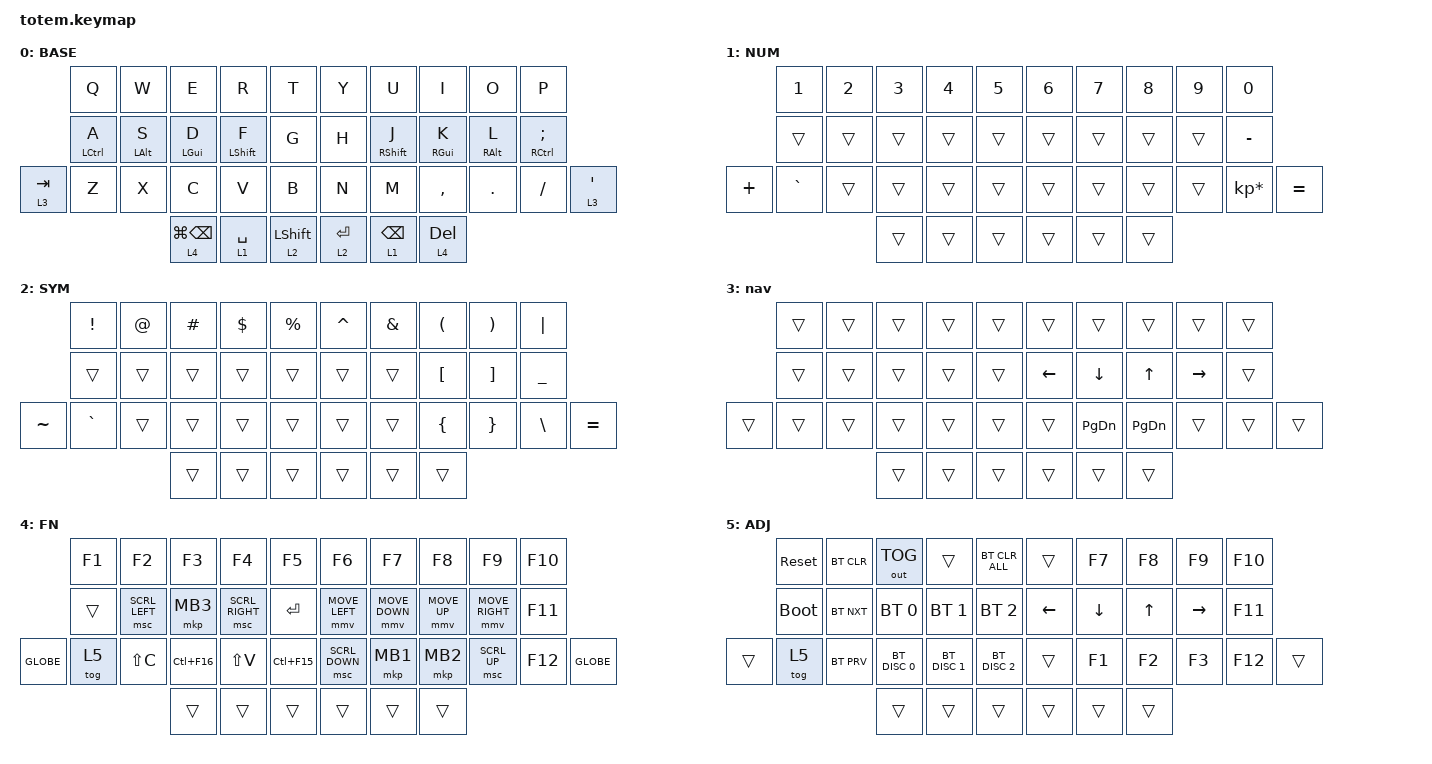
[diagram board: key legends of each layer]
//
//                                                        ▀▀▀▀▀     ▀▀▀▀▀          ▀▀█▀▀
//                                                        ▄▀▀▀▄  ▄  ▄▀▀▀▄  ▄  ▄▀▀▀▄  █  ▄▀▀▀▄
//                                                        █   █  █  █   █  █  █   █  █  █   █
//                                                         ▀▀▀   █   ▀▀▀   █   ▀▀▀   ▀   ▀▀▀
//                                                               █      ▄▄▄█▄▄▄    █   █  
//                                                               ▀      █  █  █     █▄█
//                                                             ▀▀▀▀▀    █  █  █      ▀
//                                                                      ▀  ▀  ▀
//
// ▄▄▄▄▄▄▄▄▄▄▄▄▄▄▄▄▄▄▄▄▄▄▄▄▄▄▄▄▄▄▄▄▄▄▄▄▄▄▄▄▄▄▄▄▄▄▄▄▄▄▄▄▄▄▄▄▄▄▄▄▄▄▄▄▄▄▄▄▄▄▄▄▄▄▄▄▄▄▄▄▄▄▄▄▄▄▄▄▄▄▄▄▄▄▄▄▄▄▄▄▄▄▄▄▄▄▄▄▄▄▄▄▄▄▄▄▄▄▄▄▄▄▄▄▄▄▄▄▄▄▄▄▄▄▄▄▄▄▄▄▄▄▄▄▄▄▄▄▄

#include <behaviors.dtsi>
#include <dt-bindings/zmk/bt.h>
#include <dt-bindings/zmk/keys.h>
#include <dt-bindings/zmk/outputs.h>
#include <dt-bindings/zmk/pointing.h>

#define BASE 0
#define NAV  1
#define SYM  2
#define ADJ  3
#define TVP1 4
#define TVP2 5

&mt {
    quick-tap-ms = <100>;
    global-quick-tap;
    flavor = "tap-preferred";
    tapping-term-ms = <170>;
};

/ {
    combos {
        compatible = "zmk,combos";

        combo_esc {
            timeout-ms = <50>;
            key-positions = <0 1>;
            bindings = <&kp ESC>;
        };

        combo_esc_right {
            bindings = <&kp ESCAPE>;
            key-positions = <8 9>;
        };

        rsft_nav {
            bindings = <&lt 3 RSHFT>;
            key-positions = <36 35>;
        };

        left_caps_word {
            bindings = <&caps_word>;
            key-positions = <3 13>;
        };

        right_caps_word {
            bindings = <&caps_word>;
            key-positions = <6 16>;
        };
    };

    macros {
        gif: gif {
            label = "giphy";
            compatible = "zmk,behavior-macro";
            #binding-cells = <0>;
            bindings =
                <&macro_press>,
                <&kp LSHFT>,
                <&macro_tap>,
                <&kp N2>,
                <&macro_release>,
                <&kp LSHFT>,
                <&macro_tap>,
                <&kp G &kp I &kp F>;
        };
    };

    keymap {
        compatible = "zmk,keymap";

        // ▄▄▄▄▄▄▄▄▄▄▄▄▄▄▄▄▄▄▄▄▄▄▄▄▄▄▄▄▄▄▄▄▄▄▄▄▄▄▄▄▄▄▄▄▄▄▄▄▄▄▄▄▄▄▄▄▄▄▄▄▄▄▄▄▄▄▄▄▄▄▄▄▄▄▄▄▄▄▄▄▄▄▄▄▄▄▄▄▄▄▄▄▄▄▄▄▄▄▄▄▄▄▄▄▄▄▄▄▄▄▄▄▄▄▄▄▄▄▄▄▄▄▄▄▄▄▄▄▄▄▄▄▄▄▄▄▄▄▄▄▄▄▄▄▄▄▄▄▄

        base_layer {
            // ┏━━━━━━━━━━━━━━━━━━━━━━━━━━━━━━━━━━━━━━━┓

            label = "BASE";

            // ┗━━━━━━━━━━━━━━━━━━━━━━━━━━━━━━━━━━━━━━━┛
            //             ┏━━━━━━━━━━━┳━━━━━━━━━━━┳━━━━━━━━━━━┳━━━━━━━━━━━┳━━━━━━━━━━━┓   ┏━━━━━━━━━━━┳━━━━━━━━━━━┳━━━━━━━━━━━┳━━━━━━━━━━━┳━━━━━━━━━━━┓
            //             ┃     Q     ┃     W     ┃     F     ┃     P     ┃     G     ┃   ┃     J     ┃     L     ┃     U     ┃     Y     ┃     ;     ┃
            //             ┣━━━━━━━━━━━╋━━━━━━━━━━━╋━━━━━━━━━━━╋━━━━━━━━━━━╋━━━━━━━━━━━┫   ┣━━━━━━━━━━━╋━━━━━━━━━━━╋━━━━━━━━━━━╋━━━━━━━━━━━╋━━━━━━━━━━━┫
            //             ┃     A     ┃     R     ┃     S     ┃     T     ┃     D     ┃   ┃     H     ┃     N     ┃     E     ┃     I     ┃     O     ┃
            // ┏━━━━━━━━━━━╋━━━━━━━━━━━╋━━━━━━━━━━━╋━━━━━━━━━━━╋━━━━━━━━━━━╋━━━━━━━━━━━┫   ┣━━━━━━━━━━━╋━━━━━━━━━━━╋━━━━━━━━━━━╋━━━━━━━━━━━╋━━━━━━━━━━━╋━━━━━━━━━━━┓
            // ┃     Q     ┃     Z     ┃     X     ┃     C     ┃     V     ┃     B     ┃   ┃     K     ┃     M     ┃     ,     ┃     .     ┃     /     ┃     \     ┃
            // ┗━━━━━━━━━━━┻━━━━━━━━━━━┻━━━━━━━━━━━╋━━━━━━━━━━━╋━━━━━━━━━━━╋━━━━━━━━━━━┫   ┣━━━━━━━━━━━╋━━━━━━━━━━━╋━━━━━━━━━━━╋━━━━━━━━━━━┻━━━━━━━━━━━┻━━━━━━━━━━━┛
            //                                     ┃    DEL    ┃    TAB    ┃    SPC    ┃   ┃   ENTER   ┃           ┃   BSPC    ┃
            //                                     ┗━━━━━━━━━━━┻━━━━━━━━━━━┻━━━━━━━━━━━┛   ┗━━━━━━━━━━━┻━━━━━━━━━━━┻━━━━━━━━━━━┛

            bindings = <
           &kp Q        &kp W       &kp E                &kp R        &kp T           &kp Y        &kp U            &kp I         &kp O       &kp P
           &mt LCTRL A  &mt LALT S  &mt LGUI D           &mt LSHFT F  &kp G           &kp H        &mt RSHFT J      &mt RGUI K    &mt RALT L  &mt RCTRL SEMICOLON
&lt 3 TAB  &kp Z        &kp X       &kp C                &kp V        &kp B           &kp N        &kp M            &kp COMMA     &kp DOT     &kp FSLH             &lt 3 SQT
                                    &lt 4 LG(BACKSPACE)  &lt 1 SPACE  &lt 2 LSHIFT    &lt 2 ENTER  &lt 1 BACKSPACE  &lt 4 DELETE
            >;
        };

        num_layer {
            // ┏━━━━━━━━━━━━━━━━━━━━━━━━━━━━━━━━━━━━━━━┓

            label = "NUM";

            // ┗━━━━━━━━━━━━━━━━━━━━━━━━━━━━━━━━━━━━━━━┛
            //             ┏━━━━━━━━━━━┳━━━━━━━━━━━┳━━━━━━━━━━━┳━━━━━━━━━━━┳━━━━━━━━━━━┓   ┏━━━━━━━━━━━┳━━━━━━━━━━━┳━━━━━━━━━━━┳━━━━━━━━━━━┳━━━━━━━━━━━┓
            //             ┃           ┃           ┃     UP    ┃           ┃     {     ┃   ┃     }     ┃     7     ┃     8     ┃     9     ┃     +     ┃
            //             ┣━━━━━━━━━━━╋━━━━━━━━━━━╋━━━━━━━━━━━╋━━━━━━━━━━━╋━━━━━━━━━━━┫   ┣━━━━━━━━━━━╋━━━━━━━━━━━╋━━━━━━━━━━━╋━━━━━━━━━━━╋━━━━━━━━━━━┫
            //             ┃   SHIFT   ┃   LEFT    ┃    DOWN   ┃   RIGHT   ┃     [     ┃   ┃     ]     ┃     4     ┃     5     ┃     6     ┃     -     ┃
            // ┏━━━━━━━━━━━╋━━━━━━━━━━━╋━━━━━━━━━━━╋━━━━━━━━━━━╋━━━━━━━━━━━╋━━━━━━━━━━━┫   ┣━━━━━━━━━━━╋━━━━━━━━━━━╋━━━━━━━━━━━╋━━━━━━━━━━━╋━━━━━━━━━━━╋━━━━━━━━━━━┓
            // ┃           ┃           ┃   P UP    ┃  C LOCK   ┃  P DOWN   ┃     (     ┃   ┃     )     ┃     1     ┃     2     ┃     3     ┃     *     ┃           ┃
            // ┗━━━━━━━━━━━┻━━━━━━━━━━━┻━━━━━━━━━━━╋━━━━━━━━━━━╋━━━━━━━━━━━╋━━━━━━━━━━━┫   ┣━━━━━━━━━━━╋━━━━━━━━━━━╋━━━━━━━━━━━╋━━━━━━━━━━━┻━━━━━━━━━━━┻━━━━━━━━━━━┛
            //                                     ┃           ┃    TAB    ┃    SPC    ┃   ┃    DEL    ┃     0     ┃           ┃
            //                                     ┗━━━━━━━━━━━┻━━━━━━━━━━━┻━━━━━━━━━━━┛   ┗━━━━━━━━━━━┻━━━━━━━━━━━┻━━━━━━━━━━━┛

            bindings = <
          &kp NUMBER_1  &kp NUMBER_2  &kp NUMBER_3  &kp NUMBER_4  &kp N5    &kp NUMBER_6  &kp N7  &kp N8  &kp NUMBER_9  &kp NUMBER_0
          &trans        &trans        &trans        &trans        &trans    &trans        &trans  &trans  &trans        &kp MINUS
&kp PLUS  &kp GRAVE     &trans        &trans        &trans        &trans    &trans        &trans  &trans  &trans        &kp KP_MULTIPLY  &kp EQUAL
                                      &trans        &trans        &trans    &trans        &trans  &trans
            >;
        };

        sim_layer {
            // ┏━━━━━━━━━━━━━━━━━━━━━━━━━━━━━━━━━━━━━━━┓

            label = "SYM";

            // ┗━━━━━━━━━━━━━━━━━━━━━━━━━━━━━━━━━━━━━━━┛
            //             ┏━━━━━━━━━━━┳━━━━━━━━━━━┳━━━━━━━━━━━┳━━━━━━━━━━━┳━━━━━━━━━━━┓   ┏━━━━━━━━━━━┳━━━━━━━━━━━┳━━━━━━━━━━━┳━━━━━━━━━━━┳━━━━━━━━━━━┓
            //             ┃     !     ┃     @     ┃     #     ┃     $     ┃     %     ┃   ┃     ˆ     ┃     &     ┃     Ü     ┃     '     ┃     "     ┃
            //             ┣━━━━━━━━━━━╋━━━━━━━━━━━╋━━━━━━━━━━━╋━━━━━━━━━━━╋━━━━━━━━━━━┫   ┣━━━━━━━━━━━╋━━━━━━━━━━━╋━━━━━━━━━━━╋━━━━━━━━━━━╋━━━━━━━━━━━┫
            //             ┃     Ä     ┃           ┃    SZ     ┃           ┃           ┃   ┃   MUTE    ┃   YEN     ┃   EURO    ┃  POUND    ┃     Ö     ┃
            // ┏━━━━━━━━━━━╋━━━━━━━━━━━╋━━━━━━━━━━━╋━━━━━━━━━━━╋━━━━━━━━━━━╋━━━━━━━━━━━┫   ┣━━━━━━━━━━━╋━━━━━━━━━━━╋━━━━━━━━━━━╋━━━━━━━━━━━╋━━━━━━━━━━━╋━━━━━━━━━━━┓
            // ┃           ┃  EMAIL1   ┃  EMAIL2   ┃           ┃           ┃           ┃   ┃   VOL-    ┃   VOL+    ┃   LAST    ┃   NEXT    ┃     \     ┃           ┃
            // ┗━━━━━━━━━━━┻━━━━━━━━━━━┻━━━━━━━━━━━╋━━━━━━━━━━━╋━━━━━━━━━━━╋━━━━━━━━━━━┫   ┣━━━━━━━━━━━╋━━━━━━━━━━━╋━━━━━━━━━━━╋━━━━━━━━━━━┻━━━━━━━━━━━┻━━━━━━━━━━━┛
            //                                     ┃           ┃    GIF    ┃    ADJ    ┃   ┃           ┃           ┃           ┃
            //                                     ┗━━━━━━━━━━━┻━━━━━━━━━━━┻━━━━━━━━━━━┛   ┗━━━━━━━━━━━┻━━━━━━━━━━━┻━━━━━━━━━━━┛

            bindings = <
           &kp EXCL   &kp AT  &kp HASH  &kp DLLR  &kp PRCNT    &kp CARET  &kp AMPS  &kp LEFT_PARENTHESIS  &kp RIGHT_PARENTHESIS  &kp PIPE
           &trans     &trans  &trans    &trans    &trans       &trans     &trans    &kp LEFT_BRACKET      &kp RIGHT_BRACKET      &kp UNDER
&kp TILDE  &kp GRAVE  &trans  &trans    &trans    &trans       &trans     &trans    &kp LEFT_BRACE        &kp RIGHT_BRACE        &kp BACKSLASH  &kp EQUAL
                              &trans    &trans    &trans       &trans     &trans    &trans
            >;
        };

        nav_layer {
            // ┏━━━━━━━━━━━━━━━━━━━━━━━━━━━━━━━━━━━━━━━┓

            label = "nav";

            // ┗━━━━━━━━━━━━━━━━━━━━━━━━━━━━━━━━━━━━━━━┛
            //             ┏━━━━━━━━━━━┳━━━━━━━━━━━┳━━━━━━━━━━━┳━━━━━━━━━━━┳━━━━━━━━━━━┓   ┏━━━━━━━━━━━┳━━━━━━━━━━━┳━━━━━━━━━━━┳━━━━━━━━━━━┳━━━━━━━━━━━┓
            //             ┃ NEXT FILE ┃ MARK IN   ┃ ROTATE    ┃ MARK OUT  ┃ SHOW SNAP ┃   ┃           ┃           ┃           ┃           ┃           ┃
            //             ┣━━━━━━━━━━━╋━━━━━━━━━━━╋━━━━━━━━━━━╋━━━━━━━━━━━╋━━━━━━━━━━━┫   ┣━━━━━━━━━━━╋━━━━━━━━━━━╋━━━━━━━━━━━╋━━━━━━━━━━━╋━━━━━━━━━━━┫
            //             ┃ TVP II    ┃ LEFT      ┃ PAN       ┃ RIGHT     ┃ PLAY/FLIP ┃   ┃           ┃           ┃           ┃           ┃           ┃
            // ┏━━━━━━━━━━━╋━━━━━━━━━━━╋━━━━━━━━━━━╋━━━━━━━━━━━╋━━━━━━━━━━━╋━━━━━━━━━━━┫   ┣━━━━━━━━━━━╋━━━━━━━━━━━╋━━━━━━━━━━━╋━━━━━━━━━━━╋━━━━━━━━━━━╋━━━━━━━━━━━┓
            // ┃ FULLSCR   ┃ SHIFT     ┃ COPY      ┃ DELETE    ┃ PASTE     ┃ IMG MARK  ┃   ┃           ┃           ┃           ┃           ┃           ┃           ┃
            // ┗━━━━━━━━━━━┻━━━━━━━━━━━┻━━━━━━━━━━━╋━━━━━━━━━━━╋━━━━━━━━━━━╋━━━━━━━━━━━┫   ┣━━━━━━━━━━━╋━━━━━━━━━━━╋━━━━━━━━━━━╋━━━━━━━━━━━┻━━━━━━━━━━━┻━━━━━━━━━━━┛
            //                                     ┃           ┃ UNDO/SAVE ┃  SEL/MOV  ┃   ┃           ┃           ┃           ┃
            //                                     ┗━━━━━━━━━━━┻━━━━━━━━━━━┻━━━━━━━━━━━┛   ┗━━━━━━━━━━━┻━━━━━━━━━━━┻━━━━━━━━━━━┛

            bindings = <
        &trans  &trans  &trans  &trans  &trans    &trans          &trans          &trans         &trans           &trans
        &trans  &trans  &trans  &trans  &trans    &kp LEFT_ARROW  &kp DOWN_ARROW  &kp UP_ARROW   &kp RIGHT_ARROW  &trans
&trans  &trans  &trans  &trans  &trans  &trans    &trans          &kp PAGE_DOWN   &kp PAGE_DOWN  &trans           &trans  &trans
                        &trans  &trans  &trans    &trans          &trans          &trans
            >;
        };

        fn_layer {
            // ┏━━━━━━━━━━━━━━━━━━━━━━━━━━━━━━━━━━━━━━━┓

            label = "FN";

            // ┗━━━━━━━━━━━━━━━━━━━━━━━━━━━━━━━━━━━━━━━┛
            //             ┏━━━━━━━━━━━┳━━━━━━━━━━━┳━━━━━━━━━━━┳━━━━━━━━━━━┳━━━━━━━━━━━┓   ┏━━━━━━━━━━━┳━━━━━━━━━━━┳━━━━━━━━━━━┳━━━━━━━━━━━┳━━━━━━━━━━━┓
            //             ┃ SOLO      ┃ TOGGLE IN ┃ RESET ROT ┃ TOGGLE OUT┃ TAKE SNAP ┃   ┃           ┃           ┃           ┃           ┃           ┃
            //             ┣━━━━━━━━━━━╋━━━━━━━━━━━╋━━━━━━━━━━━╋━━━━━━━━━━━╋━━━━━━━━━━━┫   ┣━━━━━━━━━━━╋━━━━━━━━━━━╋━━━━━━━━━━━╋━━━━━━━━━━━╋━━━━━━━━━━━┫
            //             ┃ ---       ┃ LAST KEY  ┃ NEW KEY   ┃ NEXT KEY  ┃ ENTER     ┃   ┃           ┃           ┃           ┃           ┃           ┃
            // ┏━━━━━━━━━━━╋━━━━━━━━━━━╋━━━━━━━━━━━╋━━━━━━━━━━━╋━━━━━━━━━━━╋━━━━━━━━━━━┫   ┣━━━━━━━━━━━╋━━━━━━━━━━━╋━━━━━━━━━━━╋━━━━━━━━━━━╋━━━━━━━━━━━╋━━━━━━━━━━━┓
            // ┃           ┃ FULLSCR   ┃ CPY2BRUSH ┃ DEL HEAD  ┃ PSTinPLACE┃ BOOK MARK ┃   ┃           ┃           ┃           ┃           ┃           ┃           ┃
            // ┗━━━━━━━━━━━┻━━━━━━━━━━━┻━━━━━━━━━━━╋━━━━━━━━━━━╋━━━━━━━━━━━╋━━━━━━━━━━━┫   ┣━━━━━━━━━━━╋━━━━━━━━━━━╋━━━━━━━━━━━╋━━━━━━━━━━━┻━━━━━━━━━━━┻━━━━━━━━━━━┛
            //                                     ┃           ┃ REDO/SAV1 ┃TRANS/WARP ┃   ┃           ┃           ┃           ┃
            //                                     ┗━━━━━━━━━━━┻━━━━━━━━━━━┻━━━━━━━━━━━┛   ┗━━━━━━━━━━━┻━━━━━━━━━━━┻━━━━━━━━━━━┛

            bindings = <
           &kp F1  &kp F2          &kp F3       &kp F4           &kp F5         &kp F6          &kp F7          &kp F8        &kp F9           &kp F10
           &trans  &msc SCRL_LEFT  &mkp MB3     &msc SCRL_RIGHT  &kp RET        &mmv MOVE_LEFT  &mmv MOVE_DOWN  &mmv MOVE_UP  &mmv MOVE_RIGHT  &kp F11
&kp GLOBE  &tog 5  &kp LS(C)       &kp LC(F16)  &kp LS(V)        &kp LC(F15)    &msc SCRL_DOWN  &mkp MB1        &mkp MB2      &msc SCRL_UP     &kp F12  &kp GLOBE
                                   &trans       &trans           &trans         &trans          &trans          &trans
            >;
        };

        adjust_layer {
            // ┏━━━━━━━━━━━━━━━━━━━━━━━━━━━━━━━━━━━━━━━┓

            label = "ADJ";

            // ┗━━━━━━━━━━━━━━━━━━━━━━━━━━━━━━━━━━━━━━━┛
            //             ┏━━━━━━━━━━━┳━━━━━━━━━━━┳━━━━━━━━━━━┳━━━━━━━━━━━┳━━━━━━━━━━━┓   ┏━━━━━━━━━━━┳━━━━━━━━━━━┳━━━━━━━━━━━┳━━━━━━━━━━━┳━━━━━━━━━━━┓
            //             ┃   RESET   ┃ BT CLEAR  ┃  OUT TOG  ┃           ┃           ┃   ┃           ┃    F7     ┃    F8     ┃    F9     ┃    F12    ┃
            //             ┣━━━━━━━━━━━╋━━━━━━━━━━━╋━━━━━━━━━━━╋━━━━━━━━━━━╋━━━━━━━━━━━┫   ┣━━━━━━━━━━━╋━━━━━━━━━━━╋━━━━━━━━━━━╋━━━━━━━━━━━╋━━━━━━━━━━━┫
            //             ┃ BOOTLOAD  ┃ BT NEXT   ┃           ┃           ┃           ┃   ┃           ┃    F4     ┃    F5     ┃    F6     ┃    F11    ┃
            // ┏━━━━━━━━━━━╋━━━━━━━━━━━╋━━━━━━━━━━━╋━━━━━━━━━━━╋━━━━━━━━━━━╋━━━━━━━━━━━┫   ┣━━━━━━━━━━━╋━━━━━━━━━━━╋━━━━━━━━━━━╋━━━━━━━━━━━╋━━━━━━━━━━━╋━━━━━━━━━━━┓
            // ┃           ┃           ┃ BT PREV   ┃           ┃           ┃           ┃   ┃           ┃    F1     ┃    F2     ┃    F3     ┃    F10    ┃           ┃
            // ┗━━━━━━━━━━━┻━━━━━━━━━━━┻━━━━━━━━━━━╋━━━━━━━━━━━╋━━━━━━━━━━━╋━━━━━━━━━━━┫   ┣━━━━━━━━━━━╋━━━━━━━━━━━╋━━━━━━━━━━━╋━━━━━━━━━━━┻━━━━━━━━━━━┻━━━━━━━━━━━┛
            //                                     ┃           ┃           ┃           ┃   ┃           ┃           ┃           ┃
            //                                     ┗━━━━━━━━━━━┻━━━━━━━━━━━┻━━━━━━━━━━━┛   ┗━━━━━━━━━━━┻━━━━━━━━━━━┻━━━━━━━━━━━┛

            bindings = <
        &sys_reset   &bt BT_CLR  &out OUT_TOG   &trans         &bt BT_CLR_ALL    &trans    &kp F7    &kp F8        &kp F9     &kp F10
        &bootloader  &bt BT_NXT  &bt BT_SEL 0   &bt BT_SEL 1   &bt BT_SEL 2      &kp LEFT  &kp DOWN  &kp UP_ARROW  &kp RIGHT  &kp F11
&trans  &tog 5       &bt BT_PRV  &bt BT_DISC 0  &bt BT_DISC 1  &bt BT_DISC 2     &trans    &kp F1    &kp F2        &kp F3     &kp F12  &trans
                                 &trans         &trans         &trans            &trans    &trans    &trans
            >;
        };
    };
};
